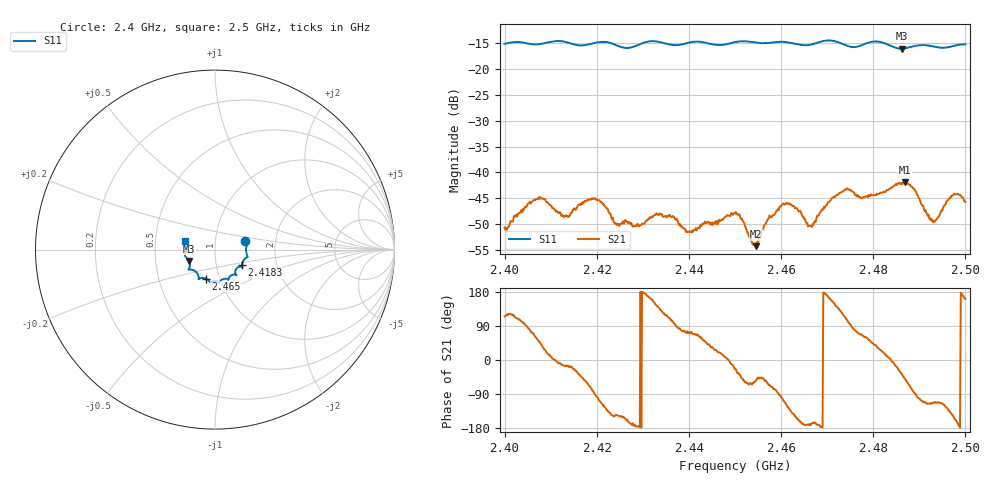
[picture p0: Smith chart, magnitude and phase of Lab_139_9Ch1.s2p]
# Hz S RI R 50
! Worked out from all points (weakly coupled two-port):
!   601 points, 2.4 GHz to 2.5 GHz, reference 50 ohm
!   highest |S21| = -41.89 dB at 2.4868 GHz (marker M1); lowest = -54.3 dB at 2.4545 GHz (marker M2)
!   lowest |S11| = -16.1 dB at 2.4862 GHz (marker M3), VSWR 1.37, Z = 37.2 - j4.81 ohm
!   |S11| at or under -10 dB: start of sweep to end of sweep
!   S12 and S22 are empty: the file has one direction only
!   S11 on the Smith chart (normalised r, x): 2.4 GHz: 1.40, +0.14; 2.4183 GHz: 1.33, -0.24; 2.465 GHz: 0.86, -0.28; 2.5 GHz: 0.71, +0.07
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2.4e9  0.1689 0.047  -0.00124 0.00265  0 0  0 0
2.407167e9  0.1733 -0.00551  0.00321 0.00446  0 0  0 0
2.413333e9  0.1764 -0.0439  0.00373 -0.000918  0 0  0 0
2.416667e9  0.1546 -0.0681  0.00357 -0.00357  0 0  0 0
2.418333e9  0.1502 -0.0868  0.00204 -0.00503  0 0  0 0
2.421e9  0.1528 -0.0999  -0.00204 -0.00473  0 0  0 0
2.4245e9  0.1385 -0.0951  -0.00263 -0.00179  0 0  0 0
2.433333e9  0.1175 -0.141  -0.003 0.00257  0 0  0 0
2.44e9  0.0762 -0.1631  0.000753 0.00254  0 0  0 0
2.45e9  0.026 -0.18  0.00364 -0.00165  0 0  0 0
2.4545e9  0.0112 -0.1798  0.0011 -0.00159  0 0  0 0
2.460167e9  -0.0272 -0.1813  -0.00093 -0.00473  0 0  0 0
2.465e9  -0.0524 -0.1615  -0.00349 -0.000603  0 0  0 0
2.466667e9  -0.0713 -0.1577  -0.00288 -0.000659  0 0  0 0
2.473833e9  -0.0935 -0.1436  -0.00281 0.00619  0 0  0 0
2.4775e9  -0.1274 -0.1122  0.00223 0.00516  0 0  0 0
2.483333e9  -0.1411 -0.0967  0.00678 0.00078  0 0  0 0
2.486167e9  -0.1438 -0.0631  0.00621 -0.00452  0 0  0 0
2.486833e9  -0.148 -0.0562  0.00532 -0.00603  0 0  0 0
2.493e9  -0.1639 -0.0201  -0.0013 -0.00302  0 0  0 0
2.497167e9  -0.1638 0.0281  -0.00492 -0.00337  0 0  0 0
2.5e9  -0.1668 0.0467  -0.00492 0.00166  0 0  0 0
